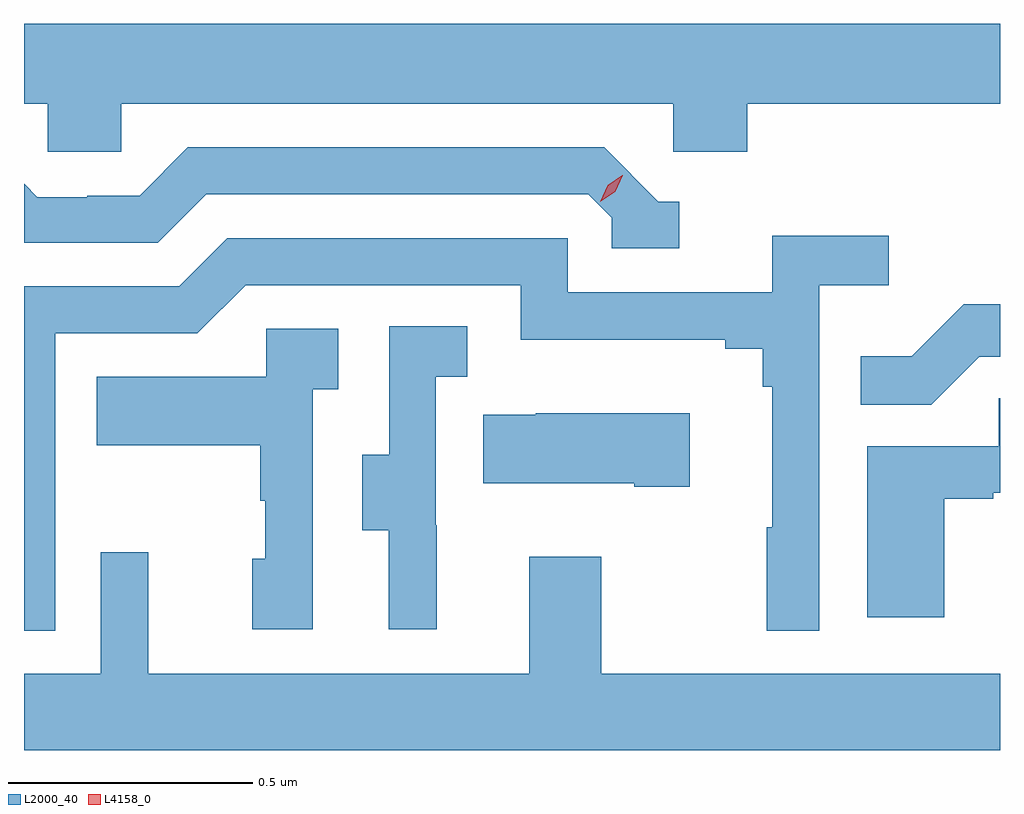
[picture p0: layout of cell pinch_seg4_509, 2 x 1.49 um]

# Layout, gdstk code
import gdstk
lib = gdstk.Library(unit=1e-6, precision=1e-09)
def P(c, l, *ps):  # polygons
    for p in ps: c.add(gdstk.Polygon(p, *l))
L2000_40 = (2000, 40)
L4158_0 = (4158, 0)

pinch_seg4_509 = lib.new_cell('pinch_seg4_509')
P(pinch_seg4_509, L2000_40, [(972.783,756.86),(973.914,756.86),(973.914,756.762),(974.066,756.762),(974.066,756.86),(974.584,756.86),(974.584,757.024),(972.584,757.024),(972.584,756.86),(972.633,756.86),(972.633,756.762),(972.783,756.762)],
  [(973.927,756.66),(973.884,756.66),(973.773,756.771),(972.92,756.771),(972.821,756.672),(972.714,756.672),(972.714,756.669),(972.611,756.669),(972.584,756.697),(972.584,756.576),(972.858,756.576),(972.957,756.675),(973.74,756.675),(973.788,756.627),(973.788,756.564),(973.927,756.564)],
  [(972.648,756.39),(972.939,756.39),(973.038,756.489),(973.602,756.489),(973.602,756.377),(974.021,756.377),(974.021,756.358),(974.098,756.358),(974.098,756.281),(974.117,756.281),(974.117,755.993),(974.106,755.993),(974.106,755.781),(974.214,755.781),(974.214,756.488),(974.356,756.488),(974.356,756.59),(974.117,756.59),(974.117,756.474),(973.698,756.474),(973.698,756.585),(973.001,756.585),(972.902,756.486),(972.584,756.486),(972.584,755.781),(972.648,755.781)],
  [(974.541,756.342),(974.584,756.342),(974.584,756.45),(974.51,756.45),(974.403,756.343),(974.299,756.343),(974.299,756.244),(974.443,756.244)],
  [(973.43,755.997),(973.428,755.997),(973.428,756.301),(973.492,756.301),(973.492,756.404),(973.332,756.404),(973.332,756.141),(973.277,756.141),(973.277,755.986),(973.331,755.986),(973.331,755.784),(973.43,755.784)],
  [(973.176,756.275),(973.228,756.275),(973.228,756.399),(973.08,756.399),(973.08,756.301),(972.733,756.301),(972.733,756.161),(973.068,756.161),(973.068,756.047),(973.078,756.047),(973.078,755.928),(973.052,755.928),(973.052,755.784),(973.176,755.784)],
  [(974.47,756.051),(974.57,756.051),(974.57,756.063),(974.584,756.063),(974.584,756.257),(974.581,756.257),(974.581,756.159),(974.312,756.159),(974.312,755.808),(974.47,755.808)],
  [(973.948,756.226),(973.633,756.226),(973.633,756.223),(973.525,756.223),(973.525,756.083),(973.835,756.083),(973.835,756.076),(973.948,756.076)],
  [(974.584,755.692),(973.767,755.692),(973.767,755.932),(973.619,755.932),(973.619,755.692),(972.839,755.692),(972.839,755.941),(972.741,755.941),(972.741,755.692),(972.584,755.692),(972.584,755.536),(974.584,755.536)])
P(pinch_seg4_509, L4158_0, [(973.765,756.66),(973.765,756.66),(973.78,756.693),(973.81,756.714),(973.811,756.714),(973.811,756.714),(973.796,756.68),(973.765,756.66)])

lib.write_gds('pinch_seg4_509.gds')
